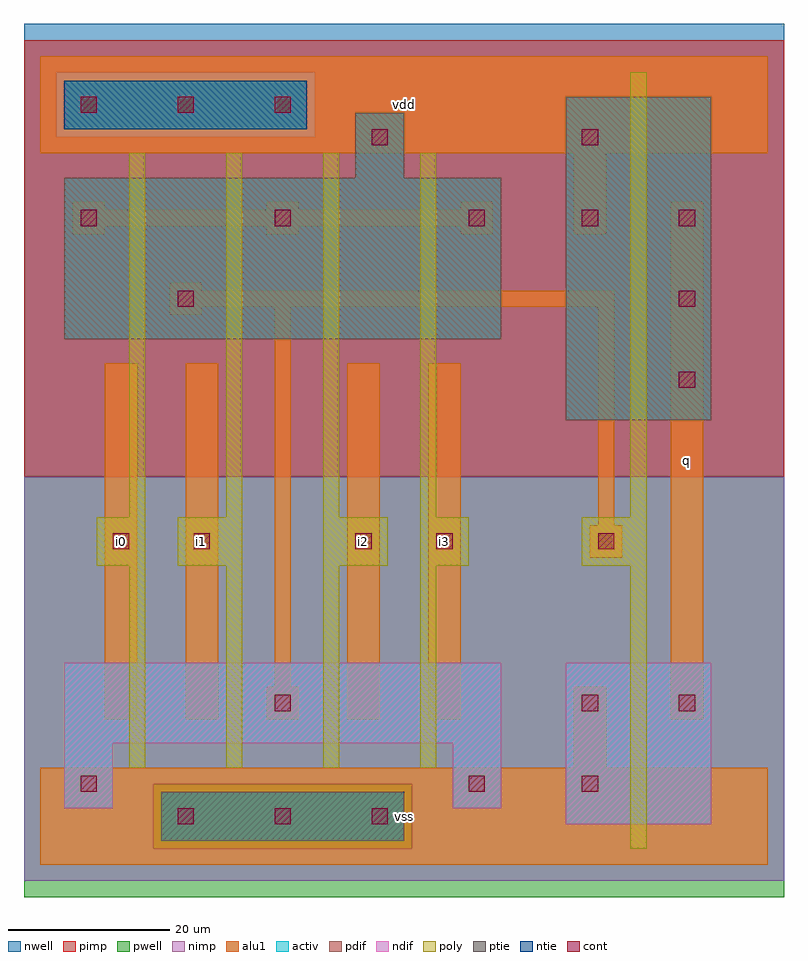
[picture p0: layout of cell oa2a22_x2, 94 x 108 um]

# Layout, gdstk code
import gdstk
lib = gdstk.Library(unit=1e-6, precision=1e-09)
def R(c, l, rs):  # rectangles x0, y0, x1, y1
    for r in rs: c.add(gdstk.rectangle(r[:2], r[2:], *l))
def A(c, l, x, y, w, h, nx, ny, dx, dy):  # array of equal rectangles
    R(c, l, [(x+i*dx, y+j*dy, x+i*dx+w, y+j*dy+h) for i in range(nx) for j in range(ny)])
ndif = (3, 0)
pdif = (4, 0)
ntie = (5, 0)
ptie = (6, 0)
cont = (25, 0)
pwell = (41, 0)
nwell = (42, 0)
activ = (43, 0)
pimp = (44, 0)
nimp = (45, 0)
poly = (46, 0)
alu1 = (49, 0)

oa2a22_x2 = lib.new_cell('oa2a22_x2')
R(oa2a22_x2, ndif, [(65,5,83,25), (3,7,9,15), (51,7,57,15), (3,15,57,25)])
R(oa2a22_x2, pdif, [(65,55,83,95), (3,65,57,85), (39,85,45,93)])
R(oa2a22_x2, ntie, [(3,91,33,97)])
R(oa2a22_x2, ptie, [(15,3,45,9)])
A(oa2a22_x2, cont, 17, 5, 2, 2, 3, 1, 12, 0)
A(oa2a22_x2, cont, 79, 59, 2, 2, 1, 3, 0, 10)
A(oa2a22_x2, cont, 5, 79, 2, 2, 3, 1, 24, 0)
A(oa2a22_x2, cont, 5, 93, 2, 2, 3, 1, 12, 0)
R(oa2a22_x2, cont, [(5,9,7,11), (53,9,55,11), (67,9,69,11), (29,19,31,21), (67,19,69,21), (79,19,81,21), (9,39,11,41), (19,39,21,41), (39,39,41,41), (49,39,51,41), (69,39,71,41), (17,69,19,71), (67,79,69,81), (41,89,43,91), (67,89,69,91)])
R(oa2a22_x2, pwell, [(-2,-4,92,48)])
R(oa2a22_x2, nwell, [(-2,48,92,104)])
R(oa2a22_x2, activ, [(15,3,45,9), (65,5,83,25), (3,7,9,15), (51,7,57,15), (3,15,57,25), (65,55,83,95), (3,65,57,85), (39,85,45,93), (3,91,33,97)])
R(oa2a22_x2, pimp, [(14,2,46,10), (-2,48,92,90), (-2,90,2,98), (34,90,92,98), (-2,98,92,102)])
R(oa2a22_x2, nimp, [(-2,-2,92,2), (-2,2,14,10), (46,2,92,10), (-2,10,92,48), (2,90,34,98)])
A(oa2a22_x2, poly, 11, 12, 2, 25, 4, 1, 12, 0)
A(oa2a22_x2, poly, 11, 43, 2, 45, 4, 1, 12, 0)
R(oa2a22_x2, poly, [(73,2,75,37), (7,37,13,43), (17,37,25,43), (35,37,43,43), (47,37,53,43), (67,37,75,43), (73,43,75,98)])
A(oa2a22_x2, alu1, 4, 78, 4, 1, 3, 2, 24, 3)
R(oa2a22_x2, alu1, [(0,0,90,12), (66,12,70,22), (8,18,12,62), (18,18,22,62), (28,18,32,22), (38,18,42,62), (48,18,52,62), (78,18,82,82), (29,22,31,69), (68,38,72,42), (69,42,71,69), (16,68,20,69), (16,69,71,71), (16,71,20,72), (66,78,70,88), (4,79,56,81), (0,88,90,100)])
oa2a22_x2.add(gdstk.Label('i0', (10,40), layer=49, texttype=0))
oa2a22_x2.add(gdstk.Label('i1', (20,40), layer=49, texttype=0))
oa2a22_x2.add(gdstk.Label('i2', (40,40), layer=49, texttype=0))
oa2a22_x2.add(gdstk.Label('vss', (45,6), layer=49, texttype=0))
oa2a22_x2.add(gdstk.Label('i3', (50,40), layer=49, texttype=0))
oa2a22_x2.add(gdstk.Label('vdd', (45,94), layer=49, texttype=0))
oa2a22_x2.add(gdstk.Label('q', (80,50), layer=49, texttype=0))

lib.write_gds('oa2a22_x2.gds')
